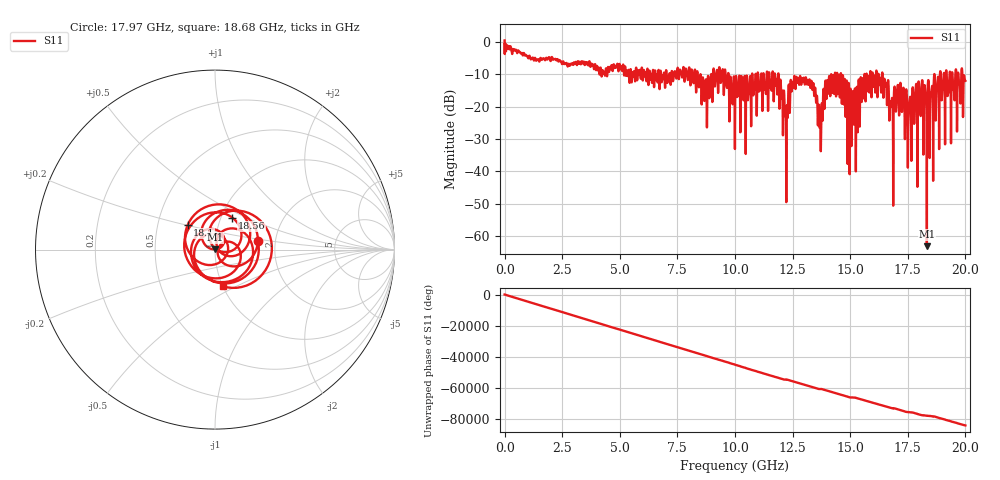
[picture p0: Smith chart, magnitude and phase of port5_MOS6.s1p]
! MS46122B
! 2250307/22442219
! 7/28/2025 8:02:15 AM
! C:\USERS\SPARKY\DOCUMENTS\VNA_DATA\JULY28_2025\295K\PORT5_MOS6.S1P
! CHANNEL.1
! TR.MEASUREMENT
! RAW.DATA
# GHZ S RI R 50.0
! FREQ.GHZ  S11RE  S11IM
!; PortSelection: Port_1
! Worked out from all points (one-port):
!   10001 points, 1 MHz to 20 GHz, reference 50 ohm
!   lowest |S11| = -63.2 dB at 18.33 GHz (marker M1), VSWR 1.00, Z = 50 + j0.0693 ohm
!   |S11| at or under -10 dB: 9.719 GHz to 10.74 GHz (1.022 GHz wide, 9.99 % of centre); 11.89 GHz to 14.33 GHz (2.443 GHz wide, 18.6 % of centre); 16.41 GHz to 18.65 GHz (2.246 GHz wide, 12.8 % of centre) (the widest 3 of 73)
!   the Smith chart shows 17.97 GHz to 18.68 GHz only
!   S11 on the Smith chart (normalised r, x): 17.97 GHz: 1.62, +0.16; 18.1 GHz: 0.71, +0.20; 18.56 GHz: 1.13, +0.42; 18.68 GHz: 1.00, -0.43
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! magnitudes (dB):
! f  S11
! 1 MHz  0.4
! 2.501 GHz  -6.9
! 5.001 GHz  -7.1
! 7.501 GHz  -8.3
! 8.717 GHz  -12.7
! 9.393 GHz  -12.4
! 10 GHz  -27.1
! 11.81 GHz  -11.6
! 12.17 GHz  -22.5
! 12.5 GHz  -12.4
! 13.32 GHz  -12.0
! 13.68 GHz  -26.5
! 13.92 GHz  -12.0
! 14.26 GHz  -10.3
! 15 GHz  -16.0
! 16.06 GHz  -10.6
! 16.57 GHz  -13.9
! 16.79 GHz  -19.2
! 17.12 GHz  -22.6
! 17.5 GHz  -37.3
! 17.58 GHz  -18.3
! 17.65 GHz  -28.3
! 17.97 GHz  -12.3
! 18.1 GHz  -13.8
! 18.33 GHz  -63.2
! 18.56 GHz  -13.9
! 18.68 GHz  -13.6
! 20 GHz  -12.1
